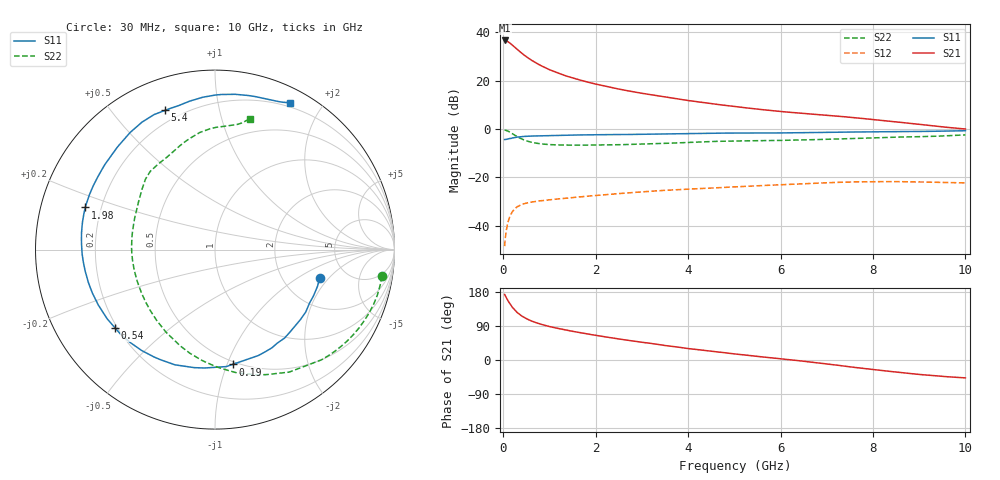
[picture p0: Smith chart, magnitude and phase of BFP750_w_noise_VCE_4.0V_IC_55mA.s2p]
! Infineon Technologies  Discrete & RF Semiconductors
! BFP750
! VCE =  4.0 V,  IC =  55 mA
! Common Emitter S-Parameters:  Jan 2016
# GHz  S  MA  R  50
!  f  S11  S21  S12  S22
! GHz  MAG  ANG  MAG  ANG  MAG  ANG  MAG  ANG
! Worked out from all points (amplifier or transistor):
!   229 points, 30 MHz to 10 GHz, reference 50 ohm
!   highest |S21| = 36.5 dB at 30 MHz (marker M1)
!   |S21| within 3 dB of that: start of sweep to 263.8 MHz
!   unconditionally stable (mu >= 1): 4.012 GHz to end of sweep
!   at 280 MHz: K = 0.19, MSG = 32.9 dB, |S12| = -32.5 dB
!   at 1.78 GHz: K = 0.72, MSG = 23.7 dB, |S12| = -27.9 dB
!   at 10 GHz: K = 1.05, MAG = 9.8 dB, |S12| = -22.3 dB
!   lowest NFmin = 1.08 dB at 450 MHz
!   S11 on the Smith chart (normalised r, x): 30 MHz: 3.22, -1.58; 190 MHz: 0.48, -1.05; 540 MHz: 0.19, -0.33; 1.98 GHz: 0.14, +0.16; 5.4 GHz: 0.14, +0.69; 10 GHz: 0.15, +1.62
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0.03  0.6048 -14.9  67.2 172.9  0.0038 71.5  0.942 -9.0
0.06  0.6052 -29.6  66.35 165.9  0.0074 71.8  0.935 -18.9
0.105  0.6237 -49.9  63.02 156.1  0.0121 66.0  0.8999 -33.1
0.15  0.6377 -67.8  58.92 147.3  0.0163 59.3  0.8538 -46.0
0.19  0.647 -81.3  54.68 140.6  0.019 54.4  0.8057 -56.1
0.26  0.6678 -100.0  47.93 130.7  0.0229 47.2  0.7339 -71.9
0.3  0.6797 -109.2  44.33 125.6  0.0246 43.7  0.6972 -80.0
0.34  0.6847 -116.4  41.03 121.7  0.0259 40.9  0.6635 -86.9
0.4  0.695 -126.0  36.74 116.1  0.0275 37.5  0.6226 -96.5
0.45  0.701 -132.5  33.69 112.3  0.0286 35.3  0.5946 -103.5
0.54  0.7073 -141.9  29.24 107.0  0.03 32.3  0.5544 -113.9
0.7  0.7198 -154.6  23.3 98.8  0.0318 28.8  0.5115 -129.3
0.9  0.729 -165.5  18.52 91.5  0.0336 26.6  0.4839 -143.3
1.2  0.7403 -177.4  14.08 82.9  0.036 25.2  0.4677 -158.3
1.7  0.7538 168.5  9.997 71.4  0.0399 24.1  0.4637 -175.1
1.98  0.76 162.0  8.549 65.5  0.0421 23.4  0.4653 177.5
3.4  0.7848 135.2  4.728 40.2  0.0533 17.9  0.4996 149.0
5.1  0.8246 113.2  2.838 14.9  0.0645 8.8  0.5666 128.4
5.4  0.8245 109.8  2.631 10.8  0.0664 6.9  0.5703 124.9
6.8  0.8458 96.6  1.987 -7.4  0.0763 -2.5  0.6043 110.2
8.4  0.8785 77.7  1.432 -30.5  0.0817 -17.6  0.6743 92.2
10  0.9188 62.9  0.997 -47.2  0.0769 -29.1  0.755 75.1
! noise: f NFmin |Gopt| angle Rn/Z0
0.45  1.08  0.19  -168  0.47
0.9  1.11  0.25  -161  0.24
1.5  1.13  0.36  -155  0.09
1.9  1.14  0.39  -150  0.08
2.4  1.15  0.4  -143  0.09
3.5  1.38  0.41  -127  0.1
